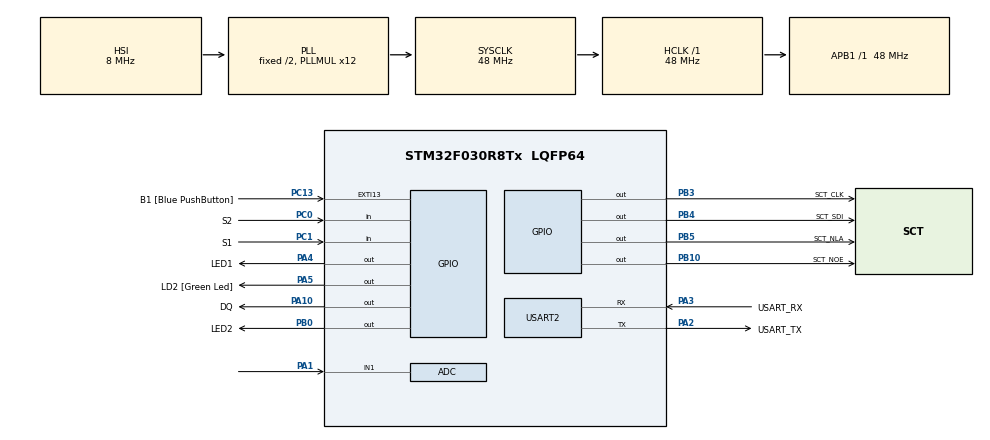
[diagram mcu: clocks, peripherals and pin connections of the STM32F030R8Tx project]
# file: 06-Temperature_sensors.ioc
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ADC.ContinuousConvMode=ENABLE
ADC.Overrun=ADC_OVR_DATA_OVERWRITTEN
ADC.Resolution=ADC_RESOLUTION_10B
ADC.SamplingTime=ADC_SAMPLETIME_1CYCLE_5
Mcu.Family=STM32F0
Mcu.Name=STM32F030R8Tx
Mcu.Package=LQFP64
PA1.Mode=IN1
PA1.Signal=ADC_IN1
PA10.GPIO_Label=DQ
PA10.GPIO_ModeDefaultOutputPP=GPIO_MODE_OUTPUT_OD
PA10.GPIO_PuPd=GPIO_NOPULL
PA10.Signal=GPIO_Output
PA13.GPIO_Label=TMS
PA13.Mode=Serial_Wire
PA13.Signal=SYS_SWDIO
PA14.GPIO_Label=TCK
PA14.Mode=Serial_Wire
PA14.Signal=SYS_SWCLK
PA2.GPIO_Label=USART_TX
PA2.GPIO_Mode=GPIO_MODE_AF_PP
PA2.GPIO_PuPd=GPIO_NOPULL
PA2.GPIO_Speed=GPIO_SPEED_FREQ_LOW
PA2.Mode=Asynchronous
PA2.Signal=USART2_TX
PA3.GPIO_Label=USART_RX
PA3.GPIO_Mode=GPIO_MODE_AF_PP
PA3.GPIO_PuPd=GPIO_NOPULL
PA3.GPIO_Speed=GPIO_SPEED_FREQ_LOW
PA3.Mode=Asynchronous
PA3.Signal=USART2_RX
PA4.GPIO_Label=LED1
PA4.Signal=GPIO_Output
PA5.GPIO_Label=LD2 [Green Led]
PA5.GPIO_Mode=GPIO_MODE_OUTPUT_PP
PA5.GPIO_PuPd=GPIO_NOPULL
PA5.GPIO_Speed=GPIO_SPEED_FREQ_LOW
PA5.Signal=GPIO_Output
PB0.GPIO_Label=LED2
PB0.Signal=GPIO_Output
PB10.GPIO_Label=SCT_NOE
PB10.Signal=GPIO_Output
PB3.GPIO_Label=SCT_CLK
PB3.Signal=GPIO_Output
PB4.GPIO_Label=SCT_SDI
PB4.Signal=GPIO_Output
PB5.GPIO_Label=SCT_NLA
PB5.Signal=GPIO_Output
PC0.GPIO_Label=S2
PC0.GPIO_PuPd=GPIO_PULLUP
PC0.Signal=GPIO_Input
PC1.GPIO_Label=S1
PC1.GPIO_PuPd=GPIO_PULLUP
PC1.Signal=GPIO_Input
PC13.GPIO_Label=B1 [Blue PushButton]
PC13.GPIO_ModeDefaultEXTI=GPIO_MODE_IT_FALLING
PC13.Signal=GPXTI13
PC14-OSC32_IN.Mode=LSE-External-Oscillator
PC14-OSC32_IN.Signal=RCC_OSC32_IN
PC15-OSC32_OUT.Mode=LSE-External-Oscillator
PC15-OSC32_OUT.Signal=RCC_OSC32_OUT
PF0-OSC_IN.Mode=HSE-External-Clock-Source
PF0-OSC_IN.Signal=RCC_OSC_IN
PF1-OSC_OUT.Signal=RCC_OSC_OUT
ProjectManager.HeapSize=0x200
ProjectManager.StackSize=0x400
ProjectManager.TargetToolchain=STM32CubeIDE
RCC.AHBFreq_Value=48000000
RCC.APB1Freq_Value=48000000
RCC.APB1TimFreq_Value=48000000
RCC.HCLKFreq_Value=48000000
RCC.PLLMUL=RCC_PLL_MUL12
RCC.SYSCLKFreq_VALUE=48000000
RCC.SYSCLKSource=RCC_SYSCLKSOURCE_PLLCLK
USART2.VirtualMode-Asynchronous=VM_ASYNC
board=NUCLEO-F030R8

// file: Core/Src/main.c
/* USER CODE BEGIN Header */
/**
  ******************************************************************************
  * @file           : main.c
  * @brief          : Main program body
  ******************************************************************************
  * @attention
  *
  * Copyright (c) 2024 STMicroelectronics.
  * All rights reserved.
  *
  * This software is licensed under terms that can be found in the LICENSE file
  * in the root directory of this software component.
  * If no LICENSE file comes with this software, it is provided AS-IS.
  *
  ******************************************************************************
  */
/* USER CODE END Header */
#include "main.h"

/* USER CODE BEGIN Includes */
#include "sct.h"
#include "1wire.h"
#include "stdio.h"
/* USER CODE END Includes */

/* USER CODE BEGIN PD */
#define CONVERT_T_DELAY 750
#define SAMPLE_DELAY 40
/* USER CODE END PD */

ADC_HandleTypeDef hadc;

UART_HandleTypeDef huart2;

void SystemClock_Config(void);
static void MX_GPIO_Init(void);
static void MX_USART2_UART_Init(void);
static void MX_ADC_Init(void);
/* USER CODE BEGIN PFP */

extern uint8_t OWReadTemperature(int16_t *temperature);

/* USER CODE END PFP */

/* USER CODE BEGIN 0 */

int _write(int file, char const *buf, int n)
{
	HAL_UART_Transmit(&huart2, (uint8_t*) (buf), n, HAL_MAX_DELAY);
	return n;
}

/* USER CODE END 0 */

int main(void)
{

  /* MCU Configuration--------------------------------------------------------*/

  /* Reset of all peripherals, Initializes the Flash interface and the Systick. */
  HAL_Init();

  /* Configure the system clock */
  SystemClock_Config();

  /* Initialize all configured peripherals */
  MX_GPIO_Init();
  MX_USART2_UART_Init();
  MX_ADC_Init();
  /* USER CODE BEGIN 2 */

  HAL_ADCEx_Calibration_Start(&hadc);
  HAL_ADC_Start(&hadc);

  sct_init();
  OWInit();

  printf("HELLO\r\n");

  static const int16_t ntc_lookup[] = {
		  #include "data.dlm"
		  };

  /* DEFAULT LED STATUS */
 	HAL_GPIO_WritePin(LED1_GPIO_Port, LED1_Pin, SET);
 	HAL_GPIO_WritePin(LED2_GPIO_Port, LED2_Pin, RESET);

  /* USER CODE END 2 */

  /* Infinite loop */
  /* USER CODE BEGIN WHILE */
  while (1)
  {

	  static enum { NTC, DS18B20 } state = NTC;

	  static uint32_t old_s1;
	  static uint32_t old_s2;

	  uint32_t new_s1 = HAL_GPIO_ReadPin(S1_GPIO_Port, S1_Pin);
	  uint32_t new_s2 = HAL_GPIO_ReadPin(S2_GPIO_Port, S2_Pin);

	  if (old_s1 && !new_s1) { // LED2, DS18B20
		  	HAL_GPIO_WritePin(LED2_GPIO_Port, LED2_Pin, SET);
	  		HAL_GPIO_WritePin(LED1_GPIO_Port, LED1_Pin, RESET);

	  		state = DS18B20;
	  }

	  if (old_s2 && !new_s2) { // LED1, NTC
		  	HAL_GPIO_WritePin(LED1_GPIO_Port, LED1_Pin, SET);
	  		HAL_GPIO_WritePin(LED2_GPIO_Port, LED2_Pin, RESET);

	  		state = NTC;
	  }

	  old_s1 = new_s1;
	  old_s2 = new_s2;

	  // state machine
	  switch (state) {
	  case NTC:
	  		int16_t adc_value;

	  		adc_value = HAL_ADC_GetValue(&hadc);
	  		sct_value(ntc_lookup[adc_value],0,1);

	  		break;

	  case DS18B20:
	  		int16_t temp_ds;
	  		static uint16_t tick;

	  		if (HAL_GetTick() >= tick + CONVERT_T_DELAY) {
	  			OWConvertAll();
	  			if (OWReadTemperature(&temp_ds) == 0) {
	  				sct_value(0,0,1);
	  			}
	  			sct_value(temp_ds / 10,0,1);
	  		}
	  		tick += SAMPLE_DELAY;

	  		break;
	  	}

	  		HAL_Delay(SAMPLE_DELAY);
	  	}

    /* USER CODE END WHILE */

}

void SystemClock_Config(void)
{
  RCC_OscInitTypeDef RCC_OscInitStruct = {0};
  RCC_ClkInitTypeDef RCC_ClkInitStruct = {0};

  /** Initializes the RCC Oscillators according to the specified parameters
  * in the RCC_OscInitTypeDef structure.
  */
  RCC_OscInitStruct.OscillatorType = RCC_OSCILLATORTYPE_HSI|RCC_OSCILLATORTYPE_HSI14;
  RCC_OscInitStruct.HSIState = RCC_HSI_ON;
  RCC_OscInitStruct.HSI14State = RCC_HSI14_ON;
  RCC_OscInitStruct.HSICalibrationValue = RCC_HSICALIBRATION_DEFAULT;
  RCC_OscInitStruct.HSI14CalibrationValue = 16;
  RCC_OscInitStruct.PLL.PLLState = RCC_PLL_ON;
  RCC_OscInitStruct.PLL.PLLSource = RCC_PLLSOURCE_HSI;
  RCC_OscInitStruct.PLL.PLLMUL = RCC_PLL_MUL12;
  RCC_OscInitStruct.PLL.PREDIV = RCC_PREDIV_DIV1;
  if (HAL_RCC_OscConfig(&RCC_OscInitStruct) != HAL_OK)
  {
    Error_Handler();
  }

  /** Initializes the CPU, AHB and APB buses clocks
  */
  RCC_ClkInitStruct.ClockType = RCC_CLOCKTYPE_HCLK|RCC_CLOCKTYPE_SYSCLK
                              |RCC_CLOCKTYPE_PCLK1;
  RCC_ClkInitStruct.SYSCLKSource = RCC_SYSCLKSOURCE_PLLCLK;
  RCC_ClkInitStruct.AHBCLKDivider = RCC_SYSCLK_DIV1;
  RCC_ClkInitStruct.APB1CLKDivider = RCC_HCLK_DIV1;

  if (HAL_RCC_ClockConfig(&RCC_ClkInitStruct, FLASH_LATENCY_1) != HAL_OK)
  {
    Error_Handler();
  }
}

static void MX_ADC_Init(void)
{

  ADC_ChannelConfTypeDef sConfig = {0};

  /** Configure the global features of the ADC (Clock, Resolution, Data Alignment and number of conversion)
  */
  hadc.Instance = ADC1;
  hadc.Init.ClockPrescaler = ADC_CLOCK_ASYNC_DIV1;
  hadc.Init.Resolution = ADC_RESOLUTION_10B;
  hadc.Init.DataAlign = ADC_DATAALIGN_RIGHT;
  hadc.Init.ScanConvMode = ADC_SCAN_DIRECTION_FORWARD;
  hadc.Init.EOCSelection = ADC_EOC_SINGLE_CONV;
  hadc.Init.LowPowerAutoWait = DISABLE;
  hadc.Init.LowPowerAutoPowerOff = DISABLE;
  hadc.Init.ContinuousConvMode = ENABLE;
  hadc.Init.DiscontinuousConvMode = DISABLE;
  hadc.Init.ExternalTrigConv = ADC_SOFTWARE_START;
  hadc.Init.ExternalTrigConvEdge = ADC_EXTERNALTRIGCONVEDGE_NONE;
  hadc.Init.DMAContinuousRequests = DISABLE;
  hadc.Init.Overrun = ADC_OVR_DATA_OVERWRITTEN;
  if (HAL_ADC_Init(&hadc) != HAL_OK)
  {
    Error_Handler();
  }

  /** Configure for the selected ADC regular channel to be converted.
  */
  sConfig.Channel = ADC_CHANNEL_1;
  sConfig.Rank = ADC_RANK_CHANNEL_NUMBER;
  sConfig.SamplingTime = ADC_SAMPLETIME_1CYCLE_5;
  if (HAL_ADC_ConfigChannel(&hadc, &sConfig) != HAL_OK)
  {
    Error_Handler();
  }

}

static void MX_USART2_UART_Init(void)
{

  huart2.Instance = USART2;
  huart2.Init.BaudRate = 38400;
  huart2.Init.WordLength = UART_WORDLENGTH_8B;
  huart2.Init.StopBits = UART_STOPBITS_1;
  huart2.Init.Parity = UART_PARITY_NONE;
  huart2.Init.Mode = UART_MODE_TX_RX;
  huart2.Init.HwFlowCtl = UART_HWCONTROL_NONE;
  huart2.Init.OverSampling = UART_OVERSAMPLING_16;
  huart2.Init.OneBitSampling = UART_ONE_BIT_SAMPLE_DISABLE;
  huart2.AdvancedInit.AdvFeatureInit = UART_ADVFEATURE_NO_INIT;
  if (HAL_UART_Init(&huart2) != HAL_OK)
  {
    Error_Handler();
  }

}

static void MX_GPIO_Init(void)
{
  GPIO_InitTypeDef GPIO_InitStruct = {0};

  /* GPIO Ports Clock Enable */
  __HAL_RCC_GPIOC_CLK_ENABLE();
  __HAL_RCC_GPIOF_CLK_ENABLE();
  __HAL_RCC_GPIOA_CLK_ENABLE();
  __HAL_RCC_GPIOB_CLK_ENABLE();

  /*Configure GPIO pin Output Level */
  HAL_GPIO_WritePin(GPIOA, LED1_Pin|LD2_Pin|DQ_Pin, GPIO_PIN_RESET);

  /*Configure GPIO pin Output Level */
  HAL_GPIO_WritePin(GPIOB, LED2_Pin|SCT_NOE_Pin|SCT_CLK_Pin|SCT_SDI_Pin
                          |SCT_NLA_Pin, GPIO_PIN_RESET);

  /*Configure GPIO pin : B1_Pin */
  GPIO_InitStruct.Pin = B1_Pin;
  GPIO_InitStruct.Mode = GPIO_MODE_IT_FALLING;
  GPIO_InitStruct.Pull = GPIO_NOPULL;
  HAL_GPIO_Init(B1_GPIO_Port, &GPIO_InitStruct);

  /*Configure GPIO pins : S2_Pin S1_Pin */
  GPIO_InitStruct.Pin = S2_Pin|S1_Pin;
  GPIO_InitStruct.Mode = GPIO_MODE_INPUT;
  GPIO_InitStruct.Pull = GPIO_PULLUP;
  HAL_GPIO_Init(GPIOC, &GPIO_InitStruct);

  /*Configure GPIO pins : LED1_Pin LD2_Pin */
  GPIO_InitStruct.Pin = LED1_Pin|LD2_Pin;
  GPIO_InitStruct.Mode = GPIO_MODE_OUTPUT_PP;
  GPIO_InitStruct.Pull = GPIO_NOPULL;
  GPIO_InitStruct.Speed = GPIO_SPEED_FREQ_LOW;
  HAL_GPIO_Init(GPIOA, &GPIO_InitStruct);

  /*Configure GPIO pins : LED2_Pin SCT_NOE_Pin SCT_CLK_Pin SCT_SDI_Pin
                           SCT_NLA_Pin */
  GPIO_InitStruct.Pin = LED2_Pin|SCT_NOE_Pin|SCT_CLK_Pin|SCT_SDI_Pin
                          |SCT_NLA_Pin;
  GPIO_InitStruct.Mode = GPIO_MODE_OUTPUT_PP;
  GPIO_InitStruct.Pull = GPIO_NOPULL;
  GPIO_InitStruct.Speed = GPIO_SPEED_FREQ_LOW;
  HAL_GPIO_Init(GPIOB, &GPIO_InitStruct);

  /*Configure GPIO pin : DQ_Pin */
  GPIO_InitStruct.Pin = DQ_Pin;
  GPIO_InitStruct.Mode = GPIO_MODE_OUTPUT_OD;
  GPIO_InitStruct.Pull = GPIO_NOPULL;
  GPIO_InitStruct.Speed = GPIO_SPEED_FREQ_LOW;
  HAL_GPIO_Init(DQ_GPIO_Port, &GPIO_InitStruct);

}

void Error_Handler(void)
{
  __disable_irq();
  while (1)
  {
  }
}
